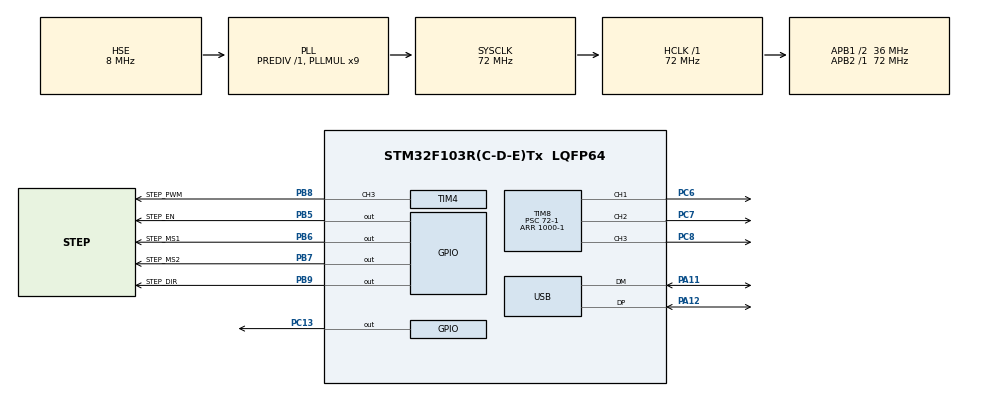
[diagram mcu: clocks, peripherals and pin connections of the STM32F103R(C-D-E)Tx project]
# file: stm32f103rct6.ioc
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Mcu.Family=STM32F1
Mcu.Name=STM32F103R(C-D-E)Tx
Mcu.Package=LQFP64
NVIC.PriorityGroup=NVIC_PRIORITYGROUP_4
NVIC.USB_LP_CAN1_RX0_IRQn=true\:0\:0\:false\:false\:true\:false\:true\:true
PA11.Mode=Device
PA11.Signal=USB_DM
PA12.Mode=Device
PA12.Signal=USB_DP
PA13.Mode=Serial_Wire
PA13.Signal=SYS_JTMS-SWDIO
PA14.Mode=Serial_Wire
PA14.Signal=SYS_JTCK-SWCLK
PB5.GPIO_Label=STEP_EN
PB5.Signal=GPIO_Output
PB6.GPIO_Label=STEP_MS1
PB6.Signal=GPIO_Output
PB7.GPIO_Label=STEP_MS2
PB7.Signal=GPIO_Output
PB8.GPIO_Label=STEP_PWM
PB8.Signal=S_TIM4_CH3
PB9.GPIO_Label=STEP_DIR
PB9.Signal=GPIO_Output
PC13-TAMPER-RTC.Signal=GPIO_Output
PC6.Signal=S_TIM8_CH1
PC7.Signal=S_TIM8_CH2
PC8.Signal=S_TIM8_CH3
PD0-OSC_IN.Mode=HSE-External-Oscillator
PD0-OSC_IN.Signal=RCC_OSC_IN
PD1-OSC_OUT.Mode=HSE-External-Oscillator
PD1-OSC_OUT.Signal=RCC_OSC_OUT
ProjectManager.HeapSize=0x200
ProjectManager.StackSize=0x400
ProjectManager.TargetToolchain=STM32CubeIDE
RCC.AHBFreq_Value=72000000
RCC.APB1CLKDivider=RCC_HCLK_DIV2
RCC.APB1Freq_Value=36000000
RCC.APB1TimFreq_Value=72000000
RCC.APB2Freq_Value=72000000
RCC.APB2TimFreq_Value=72000000
RCC.HCLKFreq_Value=72000000
RCC.PLLMUL=RCC_PLL_MUL9
RCC.PLLSourceVirtual=RCC_PLLSOURCE_HSE
RCC.SYSCLKFreq_VALUE=72000000
RCC.SYSCLKSource=RCC_SYSCLKSOURCE_PLLCLK
RCC.USBFreq_Value=48000000
RCC.USBPrescaler=RCC_USBCLKSOURCE_PLL_DIV1_5
SH.S_TIM4_CH3.0=TIM4_CH3,PWM Generation3 CH3
SH.S_TIM8_CH1.0=TIM8_CH1,PWM Generation1 CH1
SH.S_TIM8_CH2.0=TIM8_CH2,PWM Generation2 CH2
SH.S_TIM8_CH3.0=TIM8_CH3,PWM Generation3 CH3
TIM4.AutoReloadPreload=TIM_AUTORELOAD_PRELOAD_ENABLE
TIM4.Channel-PWM\ Generation3\ CH3=TIM_CHANNEL_3
TIM4.ClockDivision=TIM_CLOCKDIVISION_DIV1
TIM4.Period=10000-1
TIM4.Prescaler=71
TIM4.Pulse-PWM\ Generation3\ CH3=5000
TIM8.Channel-PWM\ Generation1\ CH1=TIM_CHANNEL_1
TIM8.Channel-PWM\ Generation2\ CH2=TIM_CHANNEL_2
TIM8.Channel-PWM\ Generation3\ CH3=TIM_CHANNEL_3
TIM8.Period=1000-1
TIM8.Prescaler=72-1
USB_DEVICE.CLASS_NAME_FS=CDC
USB_DEVICE.VirtualMode=Cdc
USB_DEVICE.VirtualModeFS=Cdc_FS
VP_TIM4_VS_ClockSourceINT.Mode=Internal
VP_TIM8_VS_ClockSourceINT.Mode=Internal
VP_USB_DEVICE_VS_USB_DEVICE_CDC_FS.Mode=CDC_FS
board=custom

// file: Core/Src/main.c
/* USER CODE BEGIN Header */
/**
  ******************************************************************************
  * @file           : main.c
  * @brief          : Main program body
  ******************************************************************************
  * @attention
  *
  * Copyright (c) 2026 STMicroelectronics.
  * All rights reserved.
  *
  * This software is licensed under terms that can be found in the LICENSE file
  * in the root directory of this software component.
  * If no LICENSE file comes with this software, it is provided AS-IS.
  *
  ******************************************************************************
  */
/* USER CODE END Header */
#include "main.h"
#include "usb_device.h"

/* USER CODE BEGIN Includes */
#include "usbd_cdc_if.h"
/* USER CODE END Includes */

/* USER CODE BEGIN PD */
#define STEP_PWM_PERIOD    1000
/* USER CODE END PD */

/* USER CODE BEGIN PM */
uint8_t usb_rx_buffer[64];
uint32_t usb_rx_len = 0;
uint8_t motor_speed = 0;
uint8_t stepper_enabled = 0;
uint8_t stepper_direction = 0;
uint32_t stepper_speed_hz = 100;  // 100 steps/giây (chậm)
/* USER CODE END PM */

TIM_HandleTypeDef htim4;
TIM_HandleTypeDef htim8;

void SystemClock_Config(void);
static void MX_GPIO_Init(void);
static void MX_TIM4_Init(void);
static void MX_TIM8_Init(void);
static void Stepper_Enable(void);
static void Stepper_Disable(void);
static void Stepper_Set_Direction(uint8_t dir);
static void Stepper_Set_Speed(uint32_t hz);
static void Stepper_Start(void);
static void Stepper_Stop(void);

/* USER CODE BEGIN 0 */

static void Process_USB_Command(uint8_t* Buf, uint32_t Len)
{
    // Kiểm tra lệnh "on\n"
    if(Len >= 3 && memcmp(Buf, "on\n", 3) == 0)
    {
        HAL_GPIO_WritePin(STEP_EN_GPIO_Port, STEP_EN_Pin, GPIO_PIN_RESET);
        char response[] = "Motor_Enable\r\n";
        CDC_Transmit_FS((uint8_t*)response, strlen(response));
    }
    // Kiểm tra lệnh "off\n"
    else if(Len >= 4 && memcmp(Buf, "off\n", 4) == 0)
    {
        HAL_GPIO_WritePin(STEP_EN_GPIO_Port, STEP_EN_Pin, GPIO_PIN_SET);
        char response[] = "Motor_Disable\r\n";
        CDC_Transmit_FS((uint8_t*)response, strlen(response));
    }
    // Xử lý lệnh không hợp lệ
    else if(Len > 0)
    {
        char response[] = "Invalid command. Use 'on\\n' or 'off\\n'\r\n";
        CDC_Transmit_FS((uint8_t*)response, strlen(response));
    }
}

void USB_CDC_RxHandler(uint8_t* Buf, uint32_t Len)
{
    if(Len < sizeof(usb_rx_buffer))
    {
        memcpy(usb_rx_buffer, Buf, Len);
        usb_rx_len = Len;
        Process_USB_Command(usb_rx_buffer, usb_rx_len);

        CDC_Transmit_FS(Buf, Len);
    }
}

static void Stepper_Enable(void)
{
    stepper_enabled = 1;
    HAL_GPIO_WritePin(STEP_EN_GPIO_Port, STEP_EN_Pin, GPIO_PIN_RESET);
}

//static void Stepper_Disable(void)
//{
//    stepper_enabled = 0;
//    HAL_GPIO_WritePin(STEP_EN_GPIO_Port, STEP_EN_Pin, GPIO_PIN_SET);
//    HAL_TIM_PWM_Stop(&htim4, TIM_CHANNEL_3);
//}

static void Stepper_Set_Direction(uint8_t dir)
{
    stepper_direction = dir;
    HAL_GPIO_WritePin(STEP_DIR_GPIO_Port, STEP_DIR_Pin, dir ? GPIO_PIN_SET : GPIO_PIN_RESET);
}

static void Stepper_Set_Speed(uint32_t hz)
{
    if(hz > 0 && hz <= 10000)  // Giới hạn 10kHz
    {
        stepper_speed_hz = hz;

        // Tính toán lại tần số PWM
        // Clock TIM4 = 72MHz / (Prescaler+1) = 72MHz / 72 = 1MHz
        // Period = 1MHz / (hz * 2) vì cần 2 xung PWM cho 1 step?
        // Thực tế: mỗi chu kỳ PWM = 1 step, nhưng cần 50% duty để có xung lên xuống
        // Nên tần số PWM = tần số step
        uint32_t period = 1000000 / hz;  // 1MHz / hz

        if(period < 2) period = 2;  // Giới hạn period tối thiểu

        __HAL_TIM_SET_AUTORELOAD(&htim4, period - 1);
        __HAL_TIM_SET_COMPARE(&htim4, TIM_CHANNEL_3, (period - 1) / 2);
    }
}

static void Stepper_Start(void)
{
    if(stepper_enabled)
    {
        HAL_TIM_PWM_Start(&htim4, TIM_CHANNEL_3);
    }
}

//static void Stepper_Stop(void)
//{
//    HAL_TIM_PWM_Stop(&htim4, TIM_CHANNEL_3);
//    HAL_GPIO_WritePin(GPIOB, GPIO_PIN_8, GPIO_PIN_RESET);
//}

/* USER CODE END 0 */

int main(void)
{

  /* MCU Configuration--------------------------------------------------------*/

  /* Reset of all peripherals, Initializes the Flash interface and the Systick. */
  HAL_Init();

  /* Configure the system clock */
  SystemClock_Config();

  /* Initialize all configured peripherals */
  MX_GPIO_Init();
  MX_TIM4_Init();
  MX_USB_DEVICE_Init();
  MX_TIM8_Init();
  /* USER CODE BEGIN 2 */
  HAL_GPIO_WritePin(STEP_EN_GPIO_Port, STEP_EN_Pin, GPIO_PIN_RESET);
  for(int i = 0; i < 20; i++)
  {
      HAL_GPIO_TogglePin(GPIOC, GPIO_PIN_13);
      HAL_Delay(100);
  }
  HAL_GPIO_WritePin(GPIOC, GPIO_PIN_13, GPIO_PIN_SET);

  HAL_GPIO_WritePin(STEP_MS1_GPIO_Port, STEP_MS1_Pin, GPIO_PIN_RESET);
  HAL_GPIO_WritePin(STEP_MS2_GPIO_Port, STEP_MS2_Pin, GPIO_PIN_RESET);
  Stepper_Set_Direction(0);
  Stepper_Set_Speed(500);
  Stepper_Enable();

  HAL_TIM_PWM_Start(&htim8, TIM_CHANNEL_1);
  __HAL_TIM_SET_COMPARE(&htim8, TIM_CHANNEL_1, 100);  // Period = 1000, 200/1000 = 20%

  HAL_TIM_PWM_Start(&htim8, TIM_CHANNEL_2);
  __HAL_TIM_SET_COMPARE(&htim8, TIM_CHANNEL_2, 100);  // Period = 1000, 200/1000 = 20%

  HAL_TIM_PWM_Start(&htim8, TIM_CHANNEL_3);
  __HAL_TIM_SET_COMPARE(&htim8, TIM_CHANNEL_3, 100);  // Period = 1000, 200/1000 = 20%

  Stepper_Start();

  /* USER CODE END 2 */

  /* Infinite loop */
  while (1)
  {

  }
}

void SystemClock_Config(void)
{
  RCC_OscInitTypeDef RCC_OscInitStruct = {0};
  RCC_ClkInitTypeDef RCC_ClkInitStruct = {0};
  RCC_PeriphCLKInitTypeDef PeriphClkInit = {0};

  /** Initializes the RCC Oscillators according to the specified parameters
  * in the RCC_OscInitTypeDef structure.
  */
  RCC_OscInitStruct.OscillatorType = RCC_OSCILLATORTYPE_HSE;
  RCC_OscInitStruct.HSEState = RCC_HSE_ON;
  RCC_OscInitStruct.HSEPredivValue = RCC_HSE_PREDIV_DIV1;
  RCC_OscInitStruct.HSIState = RCC_HSI_ON;
  RCC_OscInitStruct.PLL.PLLState = RCC_PLL_ON;
  RCC_OscInitStruct.PLL.PLLSource = RCC_PLLSOURCE_HSE;
  RCC_OscInitStruct.PLL.PLLMUL = RCC_PLL_MUL9;
  if (HAL_RCC_OscConfig(&RCC_OscInitStruct) != HAL_OK)
  {
    Error_Handler();
  }

  /** Initializes the CPU, AHB and APB buses clocks
  */
  RCC_ClkInitStruct.ClockType = RCC_CLOCKTYPE_HCLK|RCC_CLOCKTYPE_SYSCLK
                              |RCC_CLOCKTYPE_PCLK1|RCC_CLOCKTYPE_PCLK2;
  RCC_ClkInitStruct.SYSCLKSource = RCC_SYSCLKSOURCE_PLLCLK;
  RCC_ClkInitStruct.AHBCLKDivider = RCC_SYSCLK_DIV1;
  RCC_ClkInitStruct.APB1CLKDivider = RCC_HCLK_DIV2;
  RCC_ClkInitStruct.APB2CLKDivider = RCC_HCLK_DIV1;

  if (HAL_RCC_ClockConfig(&RCC_ClkInitStruct, FLASH_LATENCY_2) != HAL_OK)
  {
    Error_Handler();
  }
  PeriphClkInit.PeriphClockSelection = RCC_PERIPHCLK_USB;
  PeriphClkInit.UsbClockSelection = RCC_USBCLKSOURCE_PLL_DIV1_5;
  if (HAL_RCCEx_PeriphCLKConfig(&PeriphClkInit) != HAL_OK)
  {
    Error_Handler();
  }
}

static void MX_TIM4_Init(void)
{

  TIM_ClockConfigTypeDef sClockSourceConfig = {0};
  TIM_MasterConfigTypeDef sMasterConfig = {0};
  TIM_OC_InitTypeDef sConfigOC = {0};

  htim4.Instance = TIM4;
  htim4.Init.Prescaler = 71;
  htim4.Init.CounterMode = TIM_COUNTERMODE_UP;
  htim4.Init.Period = 10000-1;
  htim4.Init.ClockDivision = TIM_CLOCKDIVISION_DIV1;
  htim4.Init.AutoReloadPreload = TIM_AUTORELOAD_PRELOAD_ENABLE;
  if (HAL_TIM_Base_Init(&htim4) != HAL_OK)
  {
    Error_Handler();
  }
  sClockSourceConfig.ClockSource = TIM_CLOCKSOURCE_INTERNAL;
  if (HAL_TIM_ConfigClockSource(&htim4, &sClockSourceConfig) != HAL_OK)
  {
    Error_Handler();
  }
  if (HAL_TIM_PWM_Init(&htim4) != HAL_OK)
  {
    Error_Handler();
  }
  sMasterConfig.MasterOutputTrigger = TIM_TRGO_RESET;
  sMasterConfig.MasterSlaveMode = TIM_MASTERSLAVEMODE_DISABLE;
  if (HAL_TIMEx_MasterConfigSynchronization(&htim4, &sMasterConfig) != HAL_OK)
  {
    Error_Handler();
  }
  sConfigOC.OCMode = TIM_OCMODE_PWM1;
  sConfigOC.Pulse = 5000;
  sConfigOC.OCPolarity = TIM_OCPOLARITY_HIGH;
  sConfigOC.OCFastMode = TIM_OCFAST_DISABLE;
  if (HAL_TIM_PWM_ConfigChannel(&htim4, &sConfigOC, TIM_CHANNEL_3) != HAL_OK)
  {
    Error_Handler();
  }
  HAL_TIM_MspPostInit(&htim4);

}

static void MX_TIM8_Init(void)
{

  TIM_ClockConfigTypeDef sClockSourceConfig = {0};
  TIM_MasterConfigTypeDef sMasterConfig = {0};
  TIM_OC_InitTypeDef sConfigOC = {0};
  TIM_BreakDeadTimeConfigTypeDef sBreakDeadTimeConfig = {0};

  htim8.Instance = TIM8;
  htim8.Init.Prescaler = 72-1;
  htim8.Init.CounterMode = TIM_COUNTERMODE_UP;
  htim8.Init.Period = 1000-1;
  htim8.Init.ClockDivision = TIM_CLOCKDIVISION_DIV1;
  htim8.Init.RepetitionCounter = 0;
  htim8.Init.AutoReloadPreload = TIM_AUTORELOAD_PRELOAD_DISABLE;
  if (HAL_TIM_Base_Init(&htim8) != HAL_OK)
  {
    Error_Handler();
  }
  sClockSourceConfig.ClockSource = TIM_CLOCKSOURCE_INTERNAL;
  if (HAL_TIM_ConfigClockSource(&htim8, &sClockSourceConfig) != HAL_OK)
  {
    Error_Handler();
  }
  if (HAL_TIM_PWM_Init(&htim8) != HAL_OK)
  {
    Error_Handler();
  }
  sMasterConfig.MasterOutputTrigger = TIM_TRGO_RESET;
  sMasterConfig.MasterSlaveMode = TIM_MASTERSLAVEMODE_DISABLE;
  if (HAL_TIMEx_MasterConfigSynchronization(&htim8, &sMasterConfig) != HAL_OK)
  {
    Error_Handler();
  }
  sConfigOC.OCMode = TIM_OCMODE_PWM1;
  sConfigOC.Pulse = 0;
  sConfigOC.OCPolarity = TIM_OCPOLARITY_HIGH;
  sConfigOC.OCNPolarity = TIM_OCNPOLARITY_HIGH;
  sConfigOC.OCFastMode = TIM_OCFAST_DISABLE;
  sConfigOC.OCIdleState = TIM_OCIDLESTATE_RESET;
  sConfigOC.OCNIdleState = TIM_OCNIDLESTATE_RESET;
  if (HAL_TIM_PWM_ConfigChannel(&htim8, &sConfigOC, TIM_CHANNEL_1) != HAL_OK)
  {
    Error_Handler();
  }
  if (HAL_TIM_PWM_ConfigChannel(&htim8, &sConfigOC, TIM_CHANNEL_2) != HAL_OK)
  {
    Error_Handler();
  }
  if (HAL_TIM_PWM_ConfigChannel(&htim8, &sConfigOC, TIM_CHANNEL_3) != HAL_OK)
  {
    Error_Handler();
  }
  sBreakDeadTimeConfig.OffStateRunMode = TIM_OSSR_DISABLE;
  sBreakDeadTimeConfig.OffStateIDLEMode = TIM_OSSI_DISABLE;
  sBreakDeadTimeConfig.LockLevel = TIM_LOCKLEVEL_OFF;
  sBreakDeadTimeConfig.DeadTime = 0;
  sBreakDeadTimeConfig.BreakState = TIM_BREAK_DISABLE;
  sBreakDeadTimeConfig.BreakPolarity = TIM_BREAKPOLARITY_HIGH;
  sBreakDeadTimeConfig.AutomaticOutput = TIM_AUTOMATICOUTPUT_DISABLE;
  if (HAL_TIMEx_ConfigBreakDeadTime(&htim8, &sBreakDeadTimeConfig) != HAL_OK)
  {
    Error_Handler();
  }
  HAL_TIM_MspPostInit(&htim8);

}

static void MX_GPIO_Init(void)
{
  GPIO_InitTypeDef GPIO_InitStruct = {0};

  /* GPIO Ports Clock Enable */
  __HAL_RCC_GPIOC_CLK_ENABLE();
  __HAL_RCC_GPIOD_CLK_ENABLE();
  __HAL_RCC_GPIOA_CLK_ENABLE();
  __HAL_RCC_GPIOB_CLK_ENABLE();

  /*Configure GPIO pin Output Level */
  HAL_GPIO_WritePin(GPIOC, GPIO_PIN_13, GPIO_PIN_RESET);

  /*Configure GPIO pin Output Level */
  HAL_GPIO_WritePin(GPIOB, STEP_EN_Pin|STEP_MS1_Pin|STEP_MS2_Pin|STEP_DIR_Pin, GPIO_PIN_RESET);

  /*Configure GPIO pin : PC13 */
  GPIO_InitStruct.Pin = GPIO_PIN_13;
  GPIO_InitStruct.Mode = GPIO_MODE_OUTPUT_PP;
  GPIO_InitStruct.Pull = GPIO_NOPULL;
  GPIO_InitStruct.Speed = GPIO_SPEED_FREQ_LOW;
  HAL_GPIO_Init(GPIOC, &GPIO_InitStruct);

  /*Configure GPIO pins : STEP_EN_Pin STEP_MS1_Pin STEP_MS2_Pin STEP_DIR_Pin */
  GPIO_InitStruct.Pin = STEP_EN_Pin|STEP_MS1_Pin|STEP_MS2_Pin|STEP_DIR_Pin;
  GPIO_InitStruct.Mode = GPIO_MODE_OUTPUT_PP;
  GPIO_InitStruct.Pull = GPIO_NOPULL;
  GPIO_InitStruct.Speed = GPIO_SPEED_FREQ_LOW;
  HAL_GPIO_Init(GPIOB, &GPIO_InitStruct);

}

void Error_Handler(void)
{
  __disable_irq();
  while (1)
  {
  }
}
